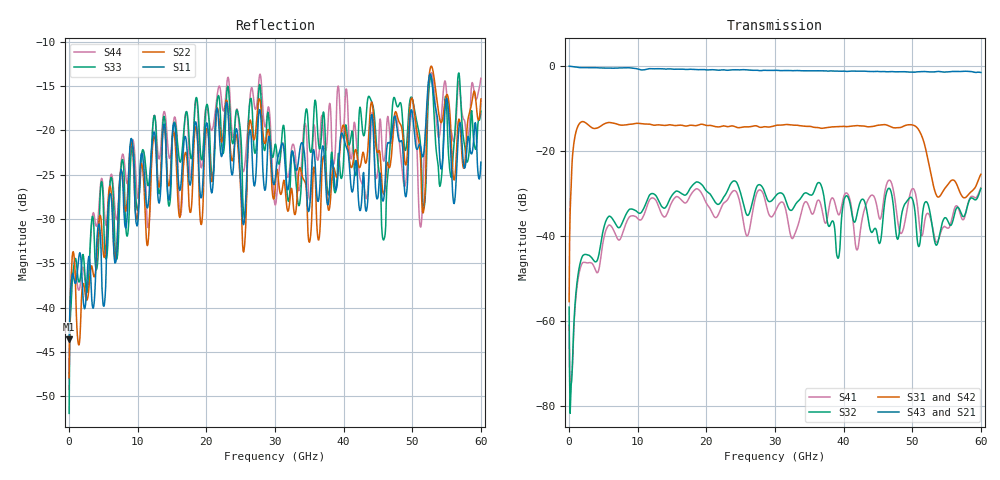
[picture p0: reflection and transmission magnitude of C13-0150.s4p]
! MARKI MICROWAVE INC.
! Email:  info@markimicrowave.com  Phone:  408-778-4200
! Model Number:  C13-0150  Date:  10/12
! Filename:		C13_0150.S4P  Version: 1.0
! Description:  4-port S-parameter data for Directional Coupler C13-0150
! Frequency Range: 	10 MHz to 60 GHz
! Port Configuration:	PORT 1: Input
!  PORT 2: Output
!  Port 3: Coupled
!  Port 4: Isolated
! S4P File: Measurements: Mag<S11> Ang<S11> Mag<S12> Ang<S12> Mag<S13> Ang<S13> Mag<S14> Ang<S14>! row 1
!  Mag<S21> Ang<S21> Mag<S22> Ang<S22> Mag<S23> Ang<S23> Mag<S24> Ang<S24>! row 2
!  Mag<S31> Ang<S31> Mag<S32> Ang<S32> Mag<S33> Ang<S33> Mag<S34> Ang<S34>! row 3
!  Mag<S41> Ang<S41> Mag<S42> Ang<S42> Mag<S43> Ang<S43> Mag<S44> Ang<S44>! row 4
# GHz S DB R 50
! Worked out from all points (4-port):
!   801 points, 10 MHz to 60 GHz, reference 50 ohm
!   strongest paths, dB at 10 MHz, 15.01 GHz, 30.01 GHz, 45.01 GHz, 60 GHz:
!     S43: 0.0, -0.7, -1.0, -1.3, -1.5
!     S21: 0.0, -0.8, -1.2, -1.4, -1.6
!     S31: -55.4, -13.9, -14.0, -13.9, -25.5
!     S42: -57.0, -14.0, -14.1, -13.9, -26.0
!     S32: -56.8, -30.4, -30.8, -40.8, -28.8
!     S41: -61.0, -31.9, -34.3, -34.5, -28.6
!   lowest |S11| = -43.6 dB at 10 MHz (marker M1), VSWR 1.01, Z = 50.3 - j0.588 ohm
!   |S11| at or under -10 dB: start of sweep to end of sweep
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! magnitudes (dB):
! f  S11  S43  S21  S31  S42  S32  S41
! 10 MHz  -43.6  0.0  0.0  -55.4  -57.0  -56.8  -61.0
! 685 MHz  -36.6  -0.2  -0.2  -18.4  -18.4  -61.3  -62.5
! 1.885 GHz  -36.6  -0.4  -0.4  -13.1  -13.1  -45.0  -46.5
! 22.96 GHz  -16.8  -1.0  -1.0  -14.2  -14.3  -29.8  -31.7
! 25.43 GHz  -30.6  -0.8  -0.9  -14.3  -14.4  -32.6  -37.0
! 51.23 GHz  -21.9  -1.3  -1.5  -15.9  -15.9  -40.0  -39.6
! 60 GHz  -23.6  -1.5  -1.6  -25.5  -26.0  -28.8  -28.6
